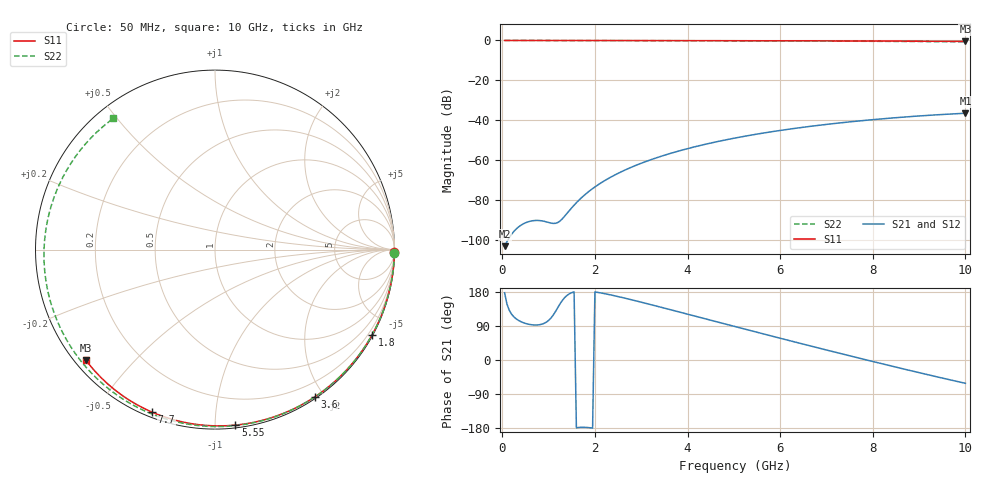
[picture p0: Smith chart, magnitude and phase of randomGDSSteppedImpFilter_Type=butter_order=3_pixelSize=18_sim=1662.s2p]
! freq	dB(S11)	phase(S11)	dB(S12)	phase(S12)
!  dB(S21)	phase(S21)	dB(S22)	phase(S22)
!S-par simulation data
#  GHz  S  DB  R 50
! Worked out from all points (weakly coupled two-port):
!   200 points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, 50 MHz to 10 GHz, reference 50 ohm
!   highest |S21| = -36.54 dB at 10 GHz (marker M1); lowest = -103.3 dB at 50 MHz (marker M2)
!   lowest |S11| = -0.5 dB at 10 GHz (marker M3), VSWR 36.79, Z = 1.55 - j18.5 ohm
!   |S11| at or under -10 dB: nowhere
!   |S22| runs from -0.7 to 0.0 dB; largest |S21 - S12| = 0
!   S11 on the Smith chart (normalised r, x): 50 MHz: open; 1.8 GHz: 0.03, -3.91; 3.6 GHz: 0.02, -1.88; 5.55 GHz: 0.02, -1.12; 7.7 GHz: 0.02, -0.68; 10 GHz: 0.03, -0.37
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0.05  -0.00 -0.8  -103.27 177.5  -103.27 177.5  -0.00 -1.2
0.8  -0.01 -12.9  -90.40 93.0  -90.40 93.0  -0.02 -19.8
1.65  -0.03 -26.3  -80.28 -178.1  -80.28 -178.1  -0.05 -40.2
1.75  -0.04 -27.9  -78.11 -177.6  -78.11 -177.6  -0.05 -42.6
1.8  -0.04 -28.7  -77.10 -177.8  -77.10 -177.8  -0.06 -43.8
2.1  -0.04 -33.3  -71.96 177.6  -71.96 177.6  -0.06 -50.8
2.45  -0.05 -38.7  -67.29 168.8  -67.29 168.8  -0.08 -59.0
2.9  -0.06 -45.5  -62.55 155.6  -62.55 155.6  -0.09 -69.2
3.4  -0.07 -53.0  -58.36 140.1  -58.36 140.1  -0.11 -80.4
3.6  -0.08 -55.9  -56.91 133.8  -56.91 133.8  -0.11 -84.8
4.3  -0.09 -66.1  -52.57 111.4  -52.57 111.4  -0.14 -100.0
5.05  -0.12 -76.6  -48.87 87.5  -48.87 87.5  -0.18 -115.9
5.55  -0.14 -83.4  -46.81 71.6  -46.81 71.6  -0.21 -126.4
6.15  -0.16 -91.4  -44.67 52.7  -44.67 52.7  -0.25 -139.0
6.7  -0.19 -98.5  -42.97 35.6  -42.97 35.6  -0.29 -150.7
7.2  -0.22 -104.9  -41.61 20.3  -41.61 20.3  -0.34 -161.5
7.7  -0.25 -111.2  -40.41 5.1  -40.41 5.1  -0.39 -172.7
8.35  -0.31 -119.2  -39.05 -14.4  -39.05 -14.4  -0.46 172.0
8.8  -0.35 -124.7  -38.23 -27.6  -38.23 -27.6  -0.52 160.8
9.2  -0.38 -129.6  -37.59 -39.1  -37.59 -39.1  -0.57 150.4
9.6  -0.43 -134.4  -37.03 -50.5  -37.03 -50.5  -0.63 139.3
10  -0.47 -139.3  -36.54 -61.5  -36.54 -61.5  -0.68 127.7
